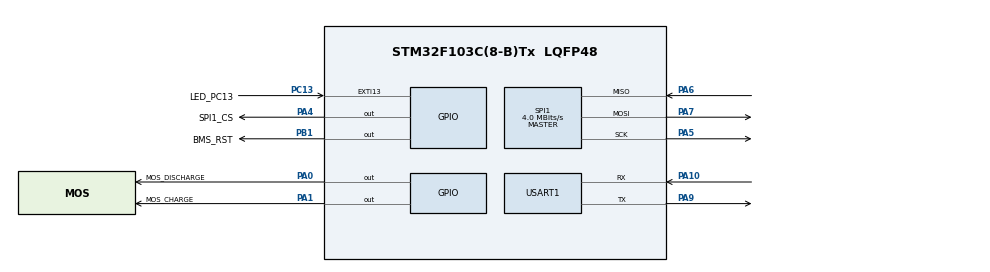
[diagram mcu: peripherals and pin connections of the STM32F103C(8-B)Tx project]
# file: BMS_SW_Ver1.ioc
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Mcu.Family=STM32F1
Mcu.Name=STM32F103C(8-B)Tx
Mcu.Package=LQFP48
NVIC.PriorityGroup=NVIC_PRIORITYGROUP_4
PA0-WKUP.GPIO_Label=MOS_DISCHARGE
PA0-WKUP.Signal=GPIO_Output
PA1.GPIO_Label=MOS_CHARGE
PA1.Signal=GPIO_Output
PA10.Mode=Asynchronous
PA10.Signal=USART1_RX
PA13.Mode=Serial_Wire
PA13.Signal=SYS_JTMS-SWDIO
PA14.Mode=Serial_Wire
PA14.Signal=SYS_JTCK-SWCLK
PA4.GPIO_Label=SPI1_CS
PA4.PinState=GPIO_PIN_SET
PA4.Signal=GPIO_Output
PA5.Mode=Full_Duplex_Master
PA5.Signal=SPI1_SCK
PA6.Mode=Full_Duplex_Master
PA6.Signal=SPI1_MISO
PA7.Mode=Full_Duplex_Master
PA7.Signal=SPI1_MOSI
PA9.Mode=Asynchronous
PA9.Signal=USART1_TX
PB1.GPIO_Label=BMS_RST
PB1.Signal=GPIO_Output
PC13-TAMPER-RTC.GPIO_Label=LED_PC13
PC13-TAMPER-RTC.Signal=GPXTI13
PD0-OSC_IN.Mode=HSE-External-Oscillator
PD0-OSC_IN.Signal=RCC_OSC_IN
PD1-OSC_OUT.Mode=HSE-External-Oscillator
PD1-OSC_OUT.Signal=RCC_OSC_OUT
ProjectManager.HeapSize=0x200
ProjectManager.StackSize=0x400
ProjectManager.TargetToolchain=STM32CubeIDE
RCC.APB1Freq_Value=8000000
RCC.APB2Freq_Value=8000000
SPI1.CLKPhase=SPI_PHASE_2EDGE
SPI1.CalculateBaudRate=4.0 MBits/s
SPI1.Direction=SPI_DIRECTION_2LINES
SPI1.Mode=SPI_MODE_MASTER
SPI1.VirtualType=VM_MASTER
USART1.VirtualMode=VM_ASYNC
board=custom

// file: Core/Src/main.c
/* USER CODE BEGIN Header */
/**
  ******************************************************************************
  * @file           : main.c
  * @brief          : Main program body
  ******************************************************************************
  * @attention
  *
  * Copyright (c) 2024 STMicroelectronics.
  * All rights reserved.
  *
  * This software is licensed under terms that can be found in the LICENSE file
  * in the root directory of this software component.
  * If no LICENSE file comes with this software, it is provided AS-IS.
  *
  ******************************************************************************
  */
/* USER CODE END Header */
#include "main.h"

/* USER CODE BEGIN Includes */

#include "bcc.h"
#include "common.h"
#include <stdio.h>
#include "monitoring.h"

/* USER CODE END Includes */

/* USER CODE BEGIN PTD */

/* Structure containing a register name and its address. */
typedef struct
{
    const uint8_t address;
    const uint16_t defaultVal;
    const uint16_t value;
} bcc_init_reg_t;

/* USER CODE END PTD */

/* USER CODE BEGIN PD */
/* Number of BCC configuration registers set during the initialization. */
#define MC33771C_INIT_CONF_REG_CNT     59U
#define MC33772C_INIT_CONF_REG_CNT     43U
/* USER CODE END PD */

SPI_HandleTypeDef hspi1;

UART_HandleTypeDef huart1;

/* USER CODE BEGIN PV */

/* Initial configuration of Battery Cell Controller devices.
 * INIT: Initialized by the BCC driver.
 * SYS_CFG_GLOBAL, SYS_DIAG and TPL_CFG: Kept POR values. */

static const bcc_init_reg_t s_initRegsMc33772c[MC33772C_INIT_CONF_REG_CNT] = {
    {MC33772C_GPIO_CFG1_OFFSET, MC33772C_GPIO_CFG1_POR_VAL, MC33772C_GPIO_CFG1_VALUE},
    {MC33772C_GPIO_CFG2_OFFSET, MC33772C_GPIO_CFG2_POR_VAL, MC33772C_GPIO_CFG2_VALUE},
    {MC33772C_TH_ALL_CT_OFFSET, MC33772C_TH_ALL_CT_POR_VAL, MC33772C_TH_ALL_CT_VALUE},
    {MC33772C_TH_CT6_OFFSET, MC33772C_TH_CT6_POR_VAL, MC33772C_TH_CTX_VALUE},
    {MC33772C_TH_CT5_OFFSET, MC33772C_TH_CT5_POR_VAL, MC33772C_TH_CTX_VALUE},
    {MC33772C_TH_CT4_OFFSET, MC33772C_TH_CT4_POR_VAL, MC33772C_TH_CTX_VALUE},
    {MC33772C_TH_CT3_OFFSET, MC33772C_TH_CT3_POR_VAL, MC33772C_TH_CTX_VALUE},
    {MC33772C_TH_CT2_OFFSET, MC33772C_TH_CT2_POR_VAL, MC33772C_TH_CTX_VALUE},
    {MC33772C_TH_CT1_OFFSET, MC33772C_TH_CT1_POR_VAL, MC33772C_TH_CTX_VALUE},
    {MC33772C_TH_AN6_OT_OFFSET, MC33772C_TH_AN6_OT_POR_VAL, MC33772C_TH_ANX_OT_VALUE},
    {MC33772C_TH_AN5_OT_OFFSET, MC33772C_TH_AN5_OT_POR_VAL, MC33772C_TH_ANX_OT_VALUE},
    {MC33772C_TH_AN4_OT_OFFSET, MC33772C_TH_AN4_OT_POR_VAL, MC33772C_TH_ANX_OT_VALUE},
    {MC33772C_TH_AN3_OT_OFFSET, MC33772C_TH_AN3_OT_POR_VAL, MC33772C_TH_ANX_OT_VALUE},
    {MC33772C_TH_AN2_OT_OFFSET, MC33772C_TH_AN2_OT_POR_VAL, MC33772C_TH_ANX_OT_VALUE},
    {MC33772C_TH_AN1_OT_OFFSET, MC33772C_TH_AN1_OT_POR_VAL, MC33772C_TH_ANX_OT_VALUE},
    {MC33772C_TH_AN0_OT_OFFSET, MC33772C_TH_AN0_OT_POR_VAL, MC33772C_TH_ANX_OT_VALUE},
    {MC33772C_TH_AN6_UT_OFFSET, MC33772C_TH_AN6_UT_POR_VAL, MC33772C_TH_ANX_UT_VALUE},
    {MC33772C_TH_AN5_UT_OFFSET, MC33772C_TH_AN5_UT_POR_VAL, MC33772C_TH_ANX_UT_VALUE},
    {MC33772C_TH_AN4_UT_OFFSET, MC33772C_TH_AN4_UT_POR_VAL, MC33772C_TH_ANX_UT_VALUE},
    {MC33772C_TH_AN3_UT_OFFSET, MC33772C_TH_AN3_UT_POR_VAL, MC33772C_TH_ANX_UT_VALUE},
    {MC33772C_TH_AN2_UT_OFFSET, MC33772C_TH_AN2_UT_POR_VAL, MC33772C_TH_ANX_UT_VALUE},
    {MC33772C_TH_AN1_UT_OFFSET, MC33772C_TH_AN1_UT_POR_VAL, MC33772C_TH_ANX_UT_VALUE},
    {MC33772C_TH_AN0_UT_OFFSET, MC33772C_TH_AN0_UT_POR_VAL, MC33772C_TH_ANX_UT_VALUE},
    {MC33772C_TH_ISENSE_OC_OFFSET, MC33772C_TH_ISENSE_OC_POR_VAL, MC33772C_TH_ISENSE_OC_VALUE},
    {MC33772C_TH_COULOMB_CNT_MSB_OFFSET, MC33772C_TH_COULOMB_CNT_MSB_POR_VAL, MC33772C_TH_COULOMB_CNT_MSB_VALUE},
    {MC33772C_TH_COULOMB_CNT_LSB_OFFSET, MC33772C_TH_COULOMB_CNT_LSB_POR_VAL, MC33772C_TH_COULOMB_CNT_LSB_VALUE},
    {MC33772C_CB1_CFG_OFFSET, MC33772C_CB1_CFG_POR_VAL, MC33772C_CBX_CFG_VALUE},
    {MC33772C_CB2_CFG_OFFSET, MC33772C_CB2_CFG_POR_VAL, MC33772C_CBX_CFG_VALUE},
    {MC33772C_CB3_CFG_OFFSET, MC33772C_CB3_CFG_POR_VAL, MC33772C_CBX_CFG_VALUE},
    {MC33772C_CB4_CFG_OFFSET, MC33772C_CB4_CFG_POR_VAL, MC33772C_CBX_CFG_VALUE},
    {MC33772C_CB5_CFG_OFFSET, MC33772C_CB5_CFG_POR_VAL, MC33772C_CBX_CFG_VALUE},
    {MC33772C_CB6_CFG_OFFSET, MC33772C_CB6_CFG_POR_VAL, MC33772C_CBX_CFG_VALUE},
    {MC33772C_OV_UV_EN_OFFSET, MC33772C_OV_UV_EN_POR_VAL, MC33772C_OV_UV_EN_VALUE},
    {MC33772C_SYS_CFG1_OFFSET, MC33772C_SYS_CFG1_POR_VAL, MC33772C_SYS_CFG1_VALUE},
    {MC33772C_SYS_CFG2_OFFSET, MC33772C_SYS_CFG2_POR_VAL, MC33772C_SYS_CFG2_VALUE},
    {MC33772C_ADC_CFG_OFFSET, MC33772C_ADC_CFG_POR_VAL, MC33772C_ADC_CFG_VALUE},
    {MC33772C_ADC2_OFFSET_COMP_OFFSET, MC33772C_ADC2_OFFSET_COMP_POR_VAL, MC33772C_ADC2_OFFSET_COMP_VALUE},
    {MC33772C_FAULT_MASK1_OFFSET, MC33772C_FAULT_MASK1_POR_VAL, MC33772C_FAULT_MASK1_VALUE},
    {MC33772C_FAULT_MASK2_OFFSET, MC33772C_FAULT_MASK2_POR_VAL, MC33772C_FAULT_MASK2_VALUE},
    {MC33772C_FAULT_MASK3_OFFSET, MC33772C_FAULT_MASK3_POR_VAL, MC33772C_FAULT_MASK3_VALUE},
    {MC33772C_WAKEUP_MASK1_OFFSET, MC33772C_WAKEUP_MASK1_POR_VAL, MC33772C_WAKEUP_MASK1_VALUE},
    {MC33772C_WAKEUP_MASK2_OFFSET, MC33772C_WAKEUP_MASK2_POR_VAL, MC33772C_WAKEUP_MASK2_VALUE},
    {MC33772C_WAKEUP_MASK3_OFFSET, MC33772C_WAKEUP_MASK3_POR_VAL, MC33772C_WAKEUP_MASK3_VALUE},
};  // Genarate 43 Element = 43 Config Register of IC CellController

/* USER CODE END PV */

void SystemClock_Config(void);
static void MX_GPIO_Init(void);
static void MX_SPI1_Init(void);
static void MX_USART1_UART_Init(void);
/* USER CODE BEGIN PFP */

static bcc_status_t initRegisters();
static bcc_status_t clearFaultRegs();
static void initDemo(bcc_status_t *bccError);
static bcc_status_t startApp(void);
void startDischarge_Charge();

bcc_status_t MeasuarenceApp(void);
/* USER CODE END PFP */

/* USER CODE BEGIN 0 */

int _write(int file, char *data, int len) {
    HAL_UART_Transmit(&huart1, (uint8_t *)data, len, 1000);
    return len;
}

bcc_data_t g_bccData;

/* USER CODE END 0 */

int main(void)
{

  /* MCU Configuration--------------------------------------------------------*/

  /* Reset of all peripherals, Initializes the Flash interface and the Systick. */
  HAL_Init();

  /* Configure the system clock */
  SystemClock_Config();

  /* Initialize all configured peripherals */
  MX_GPIO_Init();
  MX_SPI1_Init();
  MX_USART1_UART_Init();
  /* USER CODE BEGIN 2 */

  //  startDischarge_Charge();

    bcc_status_t bccError;

    initDemo(&bccError);

        if (bccError != BCC_STATUS_SUCCESS)
        {
            printf("An error occurred during BCC initialization: (0x%04x)\r\n", bccError);
            HAL_GPIO_WritePin(LED_PC13_GPIO_Port, LED_PC13_Pin,0);
        }
        else
        {
            printf("------------- BEGIN ---------------\r\n");
            printf("Success\n");
            if ((bccError = startApp()) != BCC_STATUS_SUCCESS)
            {
                printf("An error occurred (0x%04x)\r\n)", bccError);

            }

            bccError = BCC_Sleep(&g_bccData.drvConfig);
            if (bccError != BCC_STATUS_SUCCESS)
            {
                printf("SLEEP (0x%04x)\r\n)", bccError);

            }else{
          	  printf("SLEEPINGGGGG)");
            }

            printf("-------------- END ----------------\r\n");
        }

  /* USER CODE END 2 */

  /* Infinite loop */
  /* USER CODE BEGIN WHILE */
  while (1)
  {
	  MeasuarenceApp();
    /* USER CODE END WHILE */

  }
}

void SystemClock_Config(void)
{
  RCC_OscInitTypeDef RCC_OscInitStruct = {0};
  RCC_ClkInitTypeDef RCC_ClkInitStruct = {0};

  /** Initializes the RCC Oscillators according to the specified parameters
  * in the RCC_OscInitTypeDef structure.
  */
  RCC_OscInitStruct.OscillatorType = RCC_OSCILLATORTYPE_HSI;
  RCC_OscInitStruct.HSIState = RCC_HSI_ON;
  RCC_OscInitStruct.HSICalibrationValue = RCC_HSICALIBRATION_DEFAULT;
  RCC_OscInitStruct.PLL.PLLState = RCC_PLL_NONE;
  if (HAL_RCC_OscConfig(&RCC_OscInitStruct) != HAL_OK)
  {
    Error_Handler();
  }

  /** Initializes the CPU, AHB and APB buses clocks
  */
  RCC_ClkInitStruct.ClockType = RCC_CLOCKTYPE_HCLK|RCC_CLOCKTYPE_SYSCLK
                              |RCC_CLOCKTYPE_PCLK1|RCC_CLOCKTYPE_PCLK2;
  RCC_ClkInitStruct.SYSCLKSource = RCC_SYSCLKSOURCE_HSI;
  RCC_ClkInitStruct.AHBCLKDivider = RCC_SYSCLK_DIV1;
  RCC_ClkInitStruct.APB1CLKDivider = RCC_HCLK_DIV1;
  RCC_ClkInitStruct.APB2CLKDivider = RCC_HCLK_DIV1;

  if (HAL_RCC_ClockConfig(&RCC_ClkInitStruct, FLASH_LATENCY_0) != HAL_OK)
  {
    Error_Handler();
  }
}

static void MX_SPI1_Init(void)
{

  /* SPI1 parameter configuration*/
  hspi1.Instance = SPI1;
  hspi1.Init.Mode = SPI_MODE_MASTER;
  hspi1.Init.Direction = SPI_DIRECTION_2LINES;
  hspi1.Init.DataSize = SPI_DATASIZE_8BIT;
  hspi1.Init.CLKPolarity = SPI_POLARITY_LOW;
  hspi1.Init.CLKPhase = SPI_PHASE_2EDGE;
  hspi1.Init.NSS = SPI_NSS_SOFT;
  hspi1.Init.BaudRatePrescaler = SPI_BAUDRATEPRESCALER_2;
  hspi1.Init.FirstBit = SPI_FIRSTBIT_MSB;
  hspi1.Init.TIMode = SPI_TIMODE_DISABLE;
  hspi1.Init.CRCCalculation = SPI_CRCCALCULATION_DISABLE;
  hspi1.Init.CRCPolynomial = 10;
  if (HAL_SPI_Init(&hspi1) != HAL_OK)
  {
    Error_Handler();
  }

}

static void MX_USART1_UART_Init(void)
{

  huart1.Instance = USART1;
  huart1.Init.BaudRate = 115200;
  huart1.Init.WordLength = UART_WORDLENGTH_8B;
  huart1.Init.StopBits = UART_STOPBITS_1;
  huart1.Init.Parity = UART_PARITY_NONE;
  huart1.Init.Mode = UART_MODE_TX_RX;
  huart1.Init.HwFlowCtl = UART_HWCONTROL_NONE;
  huart1.Init.OverSampling = UART_OVERSAMPLING_16;
  if (HAL_UART_Init(&huart1) != HAL_OK)
  {
    Error_Handler();
  }

}

static void MX_GPIO_Init(void)
{
  GPIO_InitTypeDef GPIO_InitStruct = {0};

  /* GPIO Ports Clock Enable */
  __HAL_RCC_GPIOC_CLK_ENABLE();
  __HAL_RCC_GPIOD_CLK_ENABLE();
  __HAL_RCC_GPIOA_CLK_ENABLE();
  __HAL_RCC_GPIOB_CLK_ENABLE();

  /*Configure GPIO pin Output Level */
  HAL_GPIO_WritePin(GPIOA, MOS_DISCHARGE_Pin|MOS_CHARGE_Pin, GPIO_PIN_RESET);

  /*Configure GPIO pin Output Level */
  HAL_GPIO_WritePin(SPI1_CS_GPIO_Port, SPI1_CS_Pin, GPIO_PIN_SET);

  /*Configure GPIO pin Output Level */
  HAL_GPIO_WritePin(BMS_RST_GPIO_Port, BMS_RST_Pin, GPIO_PIN_RESET);

  /*Configure GPIO pin : LED_PC13_Pin */
  GPIO_InitStruct.Pin = LED_PC13_Pin;
  GPIO_InitStruct.Mode = GPIO_MODE_IT_RISING;
  GPIO_InitStruct.Pull = GPIO_NOPULL;
  HAL_GPIO_Init(LED_PC13_GPIO_Port, &GPIO_InitStruct);

  /*Configure GPIO pins : MOS_DISCHARGE_Pin MOS_CHARGE_Pin SPI1_CS_Pin */
  GPIO_InitStruct.Pin = MOS_DISCHARGE_Pin|MOS_CHARGE_Pin|SPI1_CS_Pin;
  GPIO_InitStruct.Mode = GPIO_MODE_OUTPUT_PP;
  GPIO_InitStruct.Pull = GPIO_NOPULL;
  GPIO_InitStruct.Speed = GPIO_SPEED_FREQ_LOW;
  HAL_GPIO_Init(GPIOA, &GPIO_InitStruct);

  /*Configure GPIO pin : BMS_RST_Pin */
  GPIO_InitStruct.Pin = BMS_RST_Pin;
  GPIO_InitStruct.Mode = GPIO_MODE_OUTPUT_PP;
  GPIO_InitStruct.Pull = GPIO_NOPULL;
  GPIO_InitStruct.Speed = GPIO_SPEED_FREQ_LOW;
  HAL_GPIO_Init(BMS_RST_GPIO_Port, &GPIO_InitStruct);

}

/* USER CODE BEGIN 4 */

// Measure voltage of stack, cell 1, cell 2, cell 3, isense.
bcc_status_t MeasuarenceApp(void)
{
	uint8_t cid;
	bcc_status_t error;
	uint32_t valueVoltage;

	error = BCC_Meas_StartAndWait(&g_bccData.drvConfig, BCC_CID_DEV1, BCC_AVG_1);
	if (error != BCC_STATUS_SUCCESS)
	{
		return error;
	}

	for (cid = BCC_CID_DEV1; cid <= g_bccData.drvConfig.devicesCnt; cid++)
	{
		sendNops();

		printf("------------- BEGIN ---------------\r\n");
		//	doMeasurements(1);
		error = BCC_Meas_GetStackVoltage(&g_bccData.drvConfig, BCC_CID_DEV1, &valueVoltage);
		if (error != BCC_STATUS_SUCCESS)
		{
			printf("Error (0x%04x)\r\n)", error);
		}
		else
		{
			printf("Stack: %d mV \r\n",valueVoltage/1000U);
		}

		sendNops();

		//	 get cell 1 voltage
		error = BCC_Meas_GetCellVoltage(&g_bccData.drvConfig, BCC_CID_DEV1, 0, &valueVoltage);
		if (error != BCC_STATUS_SUCCESS)
		{
			printf("Error (0x%04x)\r\n)", error);
		}
		else
		{
			printf("Cell 1: %d mV \r\n",valueVoltage/1000U);
		}

		sendNops();

		//	  get cell 1 voltage
		error = BCC_Meas_GetCellVoltage(&g_bccData.drvConfig, BCC_CID_DEV1, 1, &valueVoltage);
		if (error != BCC_STATUS_SUCCESS)
		{
			printf("Error (0x%04x)\r\n)", error);
		}else
		{
			printf("Cell 2: %d mV \r\n",valueVoltage/1000U);
		}

		sendNops();

		//	  get cell 1 voltage
		error = BCC_Meas_GetCellVoltage(&g_bccData.drvConfig, BCC_CID_DEV1, 5, &valueVoltage);
		if (error != BCC_STATUS_SUCCESS)
		{
			printf("Error (0x%04x)\r\n)", error);
		}else{
			printf("Cell 3: %d mV \r\n",valueVoltage/1000U);
		}

		sendNops();

		//	  get Isense voltage
		error = BCC_Meas_GetIsenseVoltage(&g_bccData.drvConfig, BCC_CID_DEV1, &valueVoltage);
		if (error != BCC_STATUS_SUCCESS)
		 {
			printf("Error (0x%04x)\r\n)", error);
		}else
		{
			printf("ISENSE: %d  uV \r\n", valueVoltage);
			printf("ISENSE: %d  mA \r\n", abs(valueVoltage)/10U);
		}

		sendNops();
		//		get temperature value
		if ((error = doGetTemp(cid)) != BCC_STATUS_SUCCESS)
		{
		    return error;
		}

		printf("-------------- END ----------------\r\n");
	}
}

static bcc_status_t initRegisters()
{
    uint8_t cid, i;
    bcc_status_t status;

    for (cid = 1; cid <= g_bccData.drvConfig.devicesCnt; cid++)
    {
          for (i = 0; i < MC33772C_INIT_CONF_REG_CNT; i++)
          {
              if (s_initRegsMc33772c[i].value != s_initRegsMc33772c[i].defaultVal)
              {
                  status = BCC_Reg_Write(&g_bccData.drvConfig, (bcc_cid_t)cid,
                          s_initRegsMc33772c[i].address, s_initRegsMc33772c[i].value);
                  if (status != BCC_STATUS_SUCCESS)
                  {
                      return status;
                  }
              }
          }
  }
    return BCC_STATUS_SUCCESS;
}

static bcc_status_t clearFaultRegs()
{
    uint8_t cid;
    bcc_status_t status;

    for (cid = 1; cid <= g_bccData.drvConfig.devicesCnt; cid++)
    {
        status = BCC_Fault_ClearStatus(&g_bccData.drvConfig, (bcc_cid_t)cid, BCC_FS_CELL_OV);
        if (status != BCC_STATUS_SUCCESS)
        {
            return status;
        }

        status = BCC_Fault_ClearStatus(&g_bccData.drvConfig, (bcc_cid_t)cid, BCC_FS_CELL_UV);
        if (status != BCC_STATUS_SUCCESS)
        {
            return status;
        }

        status = BCC_Fault_ClearStatus(&g_bccData.drvConfig, (bcc_cid_t)cid, BCC_FS_CB_OPEN);
        if (status != BCC_STATUS_SUCCESS)
        {
            return status;
        }

        status = BCC_Fault_ClearStatus(&g_bccData.drvConfig, (bcc_cid_t)cid, BCC_FS_CB_SHORT);
        if (status != BCC_STATUS_SUCCESS)
        {
            return status;
        }

        status = BCC_Fault_ClearStatus(&g_bccData.drvConfig, (bcc_cid_t)cid, BCC_FS_GPIO_STATUS);
        if (status != BCC_STATUS_SUCCESS)
        {
            return status;
        }

        status = BCC_Fault_ClearStatus(&g_bccData.drvConfig, (bcc_cid_t)cid, BCC_FS_AN_OT_UT);
        if (status != BCC_STATUS_SUCCESS)
        {
            return status;
        }

        status = BCC_Fault_ClearStatus(&g_bccData.drvConfig, (bcc_cid_t)cid, BCC_FS_GPIO_SHORT);
        if (status != BCC_STATUS_SUCCESS)
        {
            return status;
        }

        status = BCC_Fault_ClearStatus(&g_bccData.drvConfig, (bcc_cid_t)cid, BCC_FS_COMM);
        if (status != BCC_STATUS_SUCCESS)
        {
            return status;
        }

        status = BCC_Fault_ClearStatus(&g_bccData.drvConfig, (bcc_cid_t)cid, BCC_FS_FAULT1);
        if (status != BCC_STATUS_SUCCESS)
        {
            return status;
        }

        status = BCC_Fault_ClearStatus(&g_bccData.drvConfig, (bcc_cid_t)cid, BCC_FS_FAULT2);
        if (status != BCC_STATUS_SUCCESS)
        {
            return status;
        }

        status = BCC_Fault_ClearStatus(&g_bccData.drvConfig, (bcc_cid_t)cid, BCC_FS_FAULT3);
        if (status != BCC_STATUS_SUCCESS)
        {
            return status;
        }
    }

    return BCC_STATUS_SUCCESS;
}

static void initDemo(bcc_status_t *bccError)
{
    ntc_config_t ntcConfig;
    /* Initialize BCC driver configuration structure (g_bccData.drvConfig). */

    g_bccData.drvConfig.drvInstance = 0U;
    g_bccData.drvConfig.commMode = BCC_MODE_SPI;
    g_bccData.drvConfig.devicesCnt = 1U;
    g_bccData.drvConfig.device[0] = BCC_DEVICE_MC33772C;
    g_bccData.drvConfig.cellCnt[0] = 3U;

    /* Precalculate NTC look up table for fast temperature measurement. */
    ntcConfig.rntc = 6800U;               /* NTC pull-up 6.8kOhm */
    ntcConfig.refTemp = 25U;              /* NTC resistance 10kOhm at 25 degC */
    ntcConfig.refRes = 10000U;            /* NTC resistance 10kOhm at 25 degC */
    ntcConfig.beta = 3435U;
    fillNtcTable(&ntcConfig);

    /* Initialize BCC device. */
    *bccError = BCC_Init(&g_bccData.drvConfig);
    if (*bccError != BCC_STATUS_SUCCESS)
    {
        return;
    }

    /* Initialize BCC device registers. */
    *bccError = initRegisters();
    if (*bccError != BCC_STATUS_SUCCESS)
    {
        return;
    }

    /* Clear fault registers. */
    *bccError = clearFaultRegs();
}

static bcc_status_t startApp(void)
{
    uint8_t cid;
    bcc_status_t error;

    for (cid = BCC_CID_DEV1; cid <= g_bccData.drvConfig.devicesCnt; cid++)
    {
        /* Send NOP command to all nodes in order to prevent communication timeout. */
        sendNops();

        /* Print values of the configurable registers. */
        if ((error = printInitialSettings(cid)) != BCC_STATUS_SUCCESS)
        {
            return error;
        }

        /* Send NOP command to all nodes in order to prevent communication timeout. */
        sendNops();

        /* Do a measurement and print the measured values. */
        if ((error = doMeasurements(cid)) != BCC_STATUS_SUCCESS)
        {
            return error;
        }

        /* Send NOP command to all nodes in order to prevent communication timeout. */
        sendNops();

        /* Print content of the fault registers. */
        if ((error = printFaultRegisters(cid)) != BCC_STATUS_SUCCESS)
        {
            return error;
        }
    }

    /* Send NOP command to all nodes in order to prevent communication timeout. */
    sendNops();

    return BCC_STATUS_SUCCESS;
}

void startDischarge_Charge(){
	HAL_GPIO_WritePin(MOS_DISCHARGE_GPIO_Port, MOS_DISCHARGE_Pin, 1);
	HAL_GPIO_WritePin(MOS_CHARGE_GPIO_Port, MOS_CHARGE_Pin, 1);
	HAL_GPIO_WritePin(LED_PC13_GPIO_Port, LED_PC13_Pin,1);

}
/* USER CODE END 4 */

void Error_Handler(void)
{
  __disable_irq();
  while (1)
  {
  }
}
